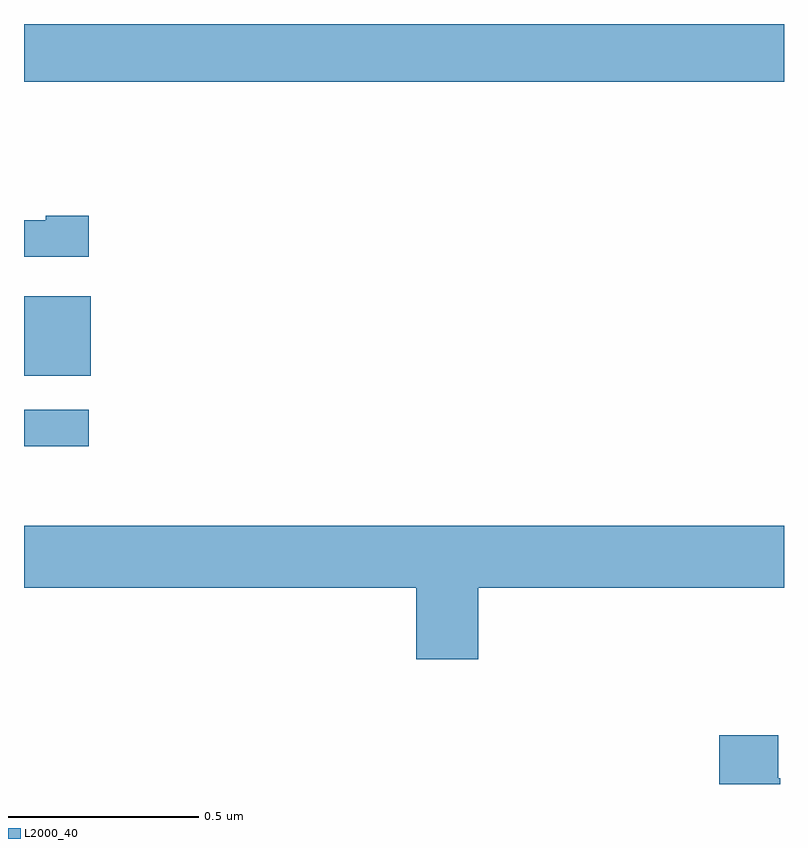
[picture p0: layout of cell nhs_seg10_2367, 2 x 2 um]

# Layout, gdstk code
import gdstk
lib = gdstk.Library(unit=1e-6, precision=1e-09)
def R(c, l, rs):  # rectangles x0, y0, x1, y1
    for r in rs: c.add(gdstk.rectangle(r[:2], r[2:], *l))
def P(c, l, *ps):  # polygons
    for p in ps: c.add(gdstk.Polygon(p, *l))
L2000_40 = (2000, 40)

nhs_seg10_2367 = lib.new_cell('nhs_seg10_2367')
R(nhs_seg10_2367, L2000_40, [(140,1267.389,140.17,1267.485), (140,1267.574,140.176,1267.783), (140,1268.348,142,1268.5)])
P(nhs_seg10_2367, L2000_40, [(140.17,1267.996),(140.057,1267.996),(140.057,1267.983),(140,1267.983),(140,1267.887),(140.17,1267.887)],
  [(141.196,1267.016),(142,1267.016),(142,1267.18),(140,1267.18),(140,1267.016),(141.032,1267.016),(141.032,1266.828),(141.196,1266.828)],
  [(141.99,1266.515),(141.985,1266.515),(141.985,1266.628),(141.83,1266.628),(141.83,1266.5),(141.99,1266.5)])

lib.write_gds('nhs_seg10_2367.gds')
